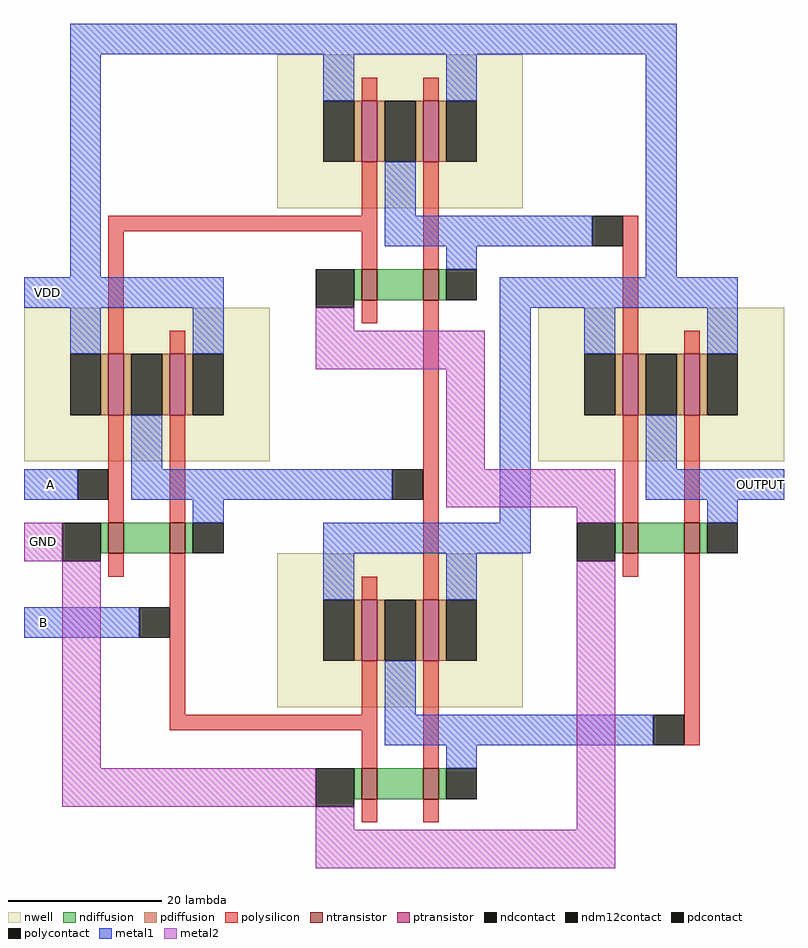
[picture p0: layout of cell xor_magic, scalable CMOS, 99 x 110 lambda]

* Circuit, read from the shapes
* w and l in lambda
.subckt xor_magic A B GND OUTPUT VDD
M1 n1 A GND VSUBS nfet w=4 l=2
M2 n2 B n1 VSUBS nfet w=4 l=2
M3 n3 B GND VSUBS nfet w=4 l=2
M4 n4 A GND VSUBS nfet w=4 l=2
M5 n5 n2 n3 VSUBS nfet w=4 l=2
M6 n6 n2 n4 VSUBS nfet w=4 l=2
M7 n7 n6 GND VSUBS nfet w=4 l=2
M8 OUTPUT n5 n7 VSUBS nfet w=4 l=2
M9 n2 A VDD n8 pfet w=8 l=2
M10 VDD B n2 n8 pfet w=8 l=2
M11 n5 B VDD n9 pfet w=8 l=2
M12 n6 A VDD n10 pfet w=8 l=2
M13 VDD n2 n5 n9 pfet w=8 l=2
M14 VDD n2 n6 n10 pfet w=8 l=2
M15 OUTPUT n6 VDD n11 pfet w=8 l=2
M16 VDD n5 OUTPUT n11 pfet w=8 l=2
.ends

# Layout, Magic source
magic
tech scmos
<< nwell >>
rect 33 33 65 53
rect 0 0 32 20
rect 67 0 99 20
rect 33 -32 65 -12
<< ntransistor >>
rect 44 21 46 25
rect 52 21 54 25
rect 11 -12 13 -8
rect 19 -12 21 -8
rect 78 -12 80 -8
rect 86 -12 88 -8
rect 44 -44 46 -40
rect 52 -44 54 -40
<< ptransistor >>
rect 44 39 46 47
rect 52 39 54 47
rect 11 6 13 14
rect 19 6 21 14
rect 78 6 80 14
rect 86 6 88 14
rect 44 -26 46 -18
rect 52 -26 54 -18
<< ndiffusion >>
rect 43 21 44 25
rect 46 21 52 25
rect 54 21 55 25
rect 10 -12 11 -8
rect 13 -12 19 -8
rect 21 -12 22 -8
rect 77 -12 78 -8
rect 80 -12 86 -8
rect 88 -12 89 -8
rect 43 -44 44 -40
rect 46 -44 52 -40
rect 54 -44 55 -40
<< pdiffusion >>
rect 43 39 44 47
rect 46 39 47 47
rect 51 39 52 47
rect 54 39 55 47
rect 10 6 11 14
rect 13 6 14 14
rect 18 6 19 14
rect 21 6 22 14
rect 77 6 78 14
rect 80 6 81 14
rect 85 6 86 14
rect 88 6 89 14
rect 43 -26 44 -18
rect 46 -26 47 -18
rect 51 -26 52 -18
rect 54 -26 55 -18
<< ndcontact >>
rect 55 21 59 25
rect 22 -12 26 -8
rect 89 -12 93 -8
rect 55 -44 59 -40
<< pdcontact >>
rect 39 39 43 47
rect 47 39 51 47
rect 55 39 59 47
rect 6 6 10 14
rect 14 6 18 14
rect 22 6 26 14
rect 73 6 77 14
rect 81 6 85 14
rect 89 6 93 14
rect 39 -26 43 -18
rect 47 -26 51 -18
rect 55 -26 59 -18
<< polysilicon >>
rect 44 47 46 50
rect 52 47 54 50
rect 44 32 46 39
rect 11 30 46 32
rect 11 14 13 30
rect 44 25 46 30
rect 52 25 54 39
rect 44 18 46 21
rect 19 14 21 17
rect 11 -8 13 6
rect 19 -8 21 6
rect 11 -15 13 -12
rect 19 -33 21 -12
rect 44 -18 46 -15
rect 52 -18 54 21
rect 78 14 80 32
rect 86 14 88 17
rect 78 -8 80 6
rect 86 -8 88 6
rect 78 -15 80 -12
rect 44 -33 46 -26
rect 19 -35 46 -33
rect 44 -40 46 -35
rect 52 -40 54 -26
rect 86 -37 88 -12
rect 44 -47 46 -44
rect 52 -47 54 -44
<< polycontact >>
rect 74 28 78 32
rect 7 -5 11 -1
rect 48 -5 52 -1
rect 15 -23 19 -19
rect 82 -37 86 -33
<< metal1 >>
rect 6 53 85 57
rect 6 24 10 53
rect 39 47 43 53
rect 55 47 59 53
rect 47 32 51 39
rect 47 28 74 32
rect 55 25 59 28
rect 0 20 26 24
rect 81 24 85 53
rect 62 20 93 24
rect 6 14 10 20
rect 22 14 26 20
rect 14 -1 18 6
rect 0 -5 7 -1
rect 14 -5 48 -1
rect 22 -8 26 -5
rect 62 -8 66 20
rect 73 14 77 20
rect 89 14 93 20
rect 81 -1 85 6
rect 81 -5 99 -1
rect 89 -8 93 -5
rect 39 -12 66 -8
rect 39 -18 43 -12
rect 55 -18 59 -12
rect 0 -23 15 -19
rect 47 -33 51 -26
rect 47 -37 82 -33
rect 55 -40 59 -37
<< ndm12contact >>
rect 38 20 43 25
rect 5 -13 10 -8
rect 72 -13 77 -8
rect 38 -45 43 -40
<< metal2 >>
rect 38 17 43 20
rect 38 12 60 17
rect 55 -1 60 12
rect 55 -6 77 -1
rect 72 -8 77 -6
rect 0 -13 5 -8
rect 5 -40 10 -13
rect 5 -45 38 -40
rect 38 -48 43 -45
rect 72 -48 77 -13
rect 38 -53 77 -48
<< labels >>
rlabel metal1 0 -5 7 -1 3 A
rlabel metal1 0 20 6 24 3 VDD
rlabel metal2 0 -13 5 -8 3 GND
rlabel metal1 0 -23 5 -19 3 B
rlabel metal1 93 -5 99 -1 7 OUTPUT
<< end >>
